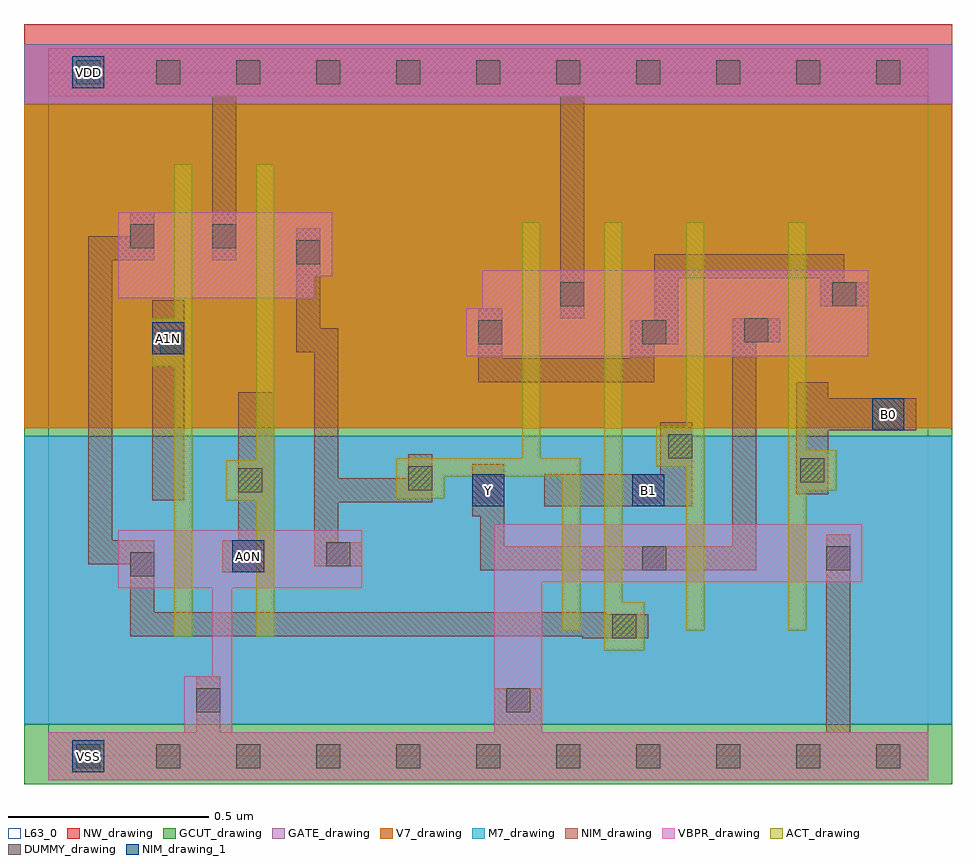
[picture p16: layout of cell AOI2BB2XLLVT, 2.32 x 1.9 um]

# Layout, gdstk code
import gdstk
lib = gdstk.Library(unit=1e-6, precision=5e-10)
def R(c, l, rs):  # rectangles x0, y0, x1, y1
    for r in rs: c.add(gdstk.rectangle(r[:2], r[2:], *l))
def A(c, l, x, y, w, h, nx, ny, dx, dy):  # array of equal rectangles
    R(c, l, [(x+i*dx, y+j*dy, x+i*dx+w, y+j*dy+h) for i in range(nx) for j in range(ny)])
def P(c, l, *ps):  # polygons
    for p in ps: c.add(gdstk.Polygon(p, *l))
VBPR_drawing = (1, 0)
NW_drawing = (2, 0)
ACT_drawing = (3, 0)
GATE_drawing = (4, 0)
GCUT_drawing = (5, 0)
DUMMY_drawing = (6, 0)
NIM_drawing = (7, 0)
NIM_drawing_1 = (7, 1)
M7_drawing = (26, 0)
V7_drawing = (27, 0)
L63_0 = (63, 0)

aoi2bb2xllvt = lib.new_cell('AOI2BB2XLLVT')
R(aoi2bb2xllvt, VBPR_drawing, [(0,-0.06,2.2,0.06), (0,1.65,2.2,1.77)])
P(aoi2bb2xllvt, VBPR_drawing, [(0.175,1.36),(0.71,1.36),(0.71,1.2),(0.665,1.2),(0.665,1.145),(0.175,1.145)],
  [(1.085,1.215),(2.05,1.215),(2.05,1),(1.045,1),(1.045,1.12),(1.085,1.12)],
  [(2.035,0.58),(1.115,0.58),(1.115,0.06),(1.235,0.06),(1.235,0.435),(2.035,0.435)],
  [(0.785,0.565),(0.175,0.565),(0.175,0.42),(0.41,0.42),(0.41,0.2),(0.34,0.2),(0.34,0.06),(0.46,0.06),(0.46,0.42),(0.785,0.42)])
R(aoi2bb2xllvt, NW_drawing, [(-0.06,0.82,2.26,1.83)])
P(aoi2bb2xllvt, ACT_drawing, [(0.315,1.48),(0.36,1.48),(0.36,0.3),(0.315,0.3),(0.315,0.975),(0.26,0.975),(0.26,1.095),(0.315,1.095)],
  [(0.52,1.48),(0.565,1.48),(0.565,0.3),(0.52,0.3),(0.52,0.64),(0.445,0.64),(0.445,0.74),(0.52,0.74)],
  [(1.185,1.335),(1.23,1.335),(1.23,0.745),(1.33,0.745),(1.33,0.315),(1.285,0.315),(1.285,0.7),(0.99,0.7),(0.99,0.645),(0.87,0.645),(0.87,0.745),(1.185,0.745)],
  [(1.39,1.335),(1.435,1.335),(1.435,0.385),(1.49,0.385),(1.49,0.265),(1.39,0.265)],
  [(1.595,1.335),(1.64,1.335),(1.64,0.315),(1.595,0.315),(1.595,0.725),(1.52,0.725),(1.52,0.825),(1.595,0.825)],
  [(1.85,1.335),(1.895,1.335),(1.895,0.765),(1.97,0.765),(1.97,0.665),(1.895,0.665),(1.895,0.315),(1.85,0.315)])
R(aoi2bb2xllvt, GATE_drawing, [(-0.06,0.08,2.26,0.8), (-0.06,1.63,2.26,1.78)])
R(aoi2bb2xllvt, GCUT_drawing, [(-0.06,-0.07,2.26,0.08), (-0.06,0.8,2.26,1.63)])
A(aoi2bb2xllvt, DUMMY_drawing, 0.07, -0.03, 0.06, 0.06, 11, 2, 0.2, 1.71)
R(aoi2bb2xllvt, DUMMY_drawing, [(0.37,0.11,0.43,0.17), (1.145,0.11,1.205,0.17), (1.41,0.295,1.47,0.355), (0.205,0.45,0.265,0.51), (1.485,0.465,1.545,0.525), (1.945,0.465,2.005,0.525), (0.695,0.475,0.755,0.535), (0.475,0.66,0.535,0.72), (0.9,0.665,0.96,0.725), (1.88,0.685,1.94,0.745), (1.55,0.745,1.61,0.805), (0.28,1.005,0.34,1.065), (1.075,1.03,1.135,1.09), (1.485,1.03,1.545,1.09), (1.74,1.035,1.8,1.095), (1.28,1.125,1.34,1.185), (1.96,1.125,2.02,1.185), (0.62,1.23,0.68,1.29), (0.205,1.27,0.265,1.33), (0.41,1.27,0.47,1.33)])
R(aoi2bb2xllvt, NIM_drawing, [(0.37,0.06,0.43,0.2), (1.115,0.06,1.235,0.17), (1.945,0.06,2.005,0.555), (0.26,0.64,0.34,1.14), (1.28,1.095,1.34,1.65), (0.41,1.24,0.47,1.65)])
P(aoi2bb2xllvt, NIM_drawing, [(0.205,1.36),(0.265,1.36),(0.265,1.24),(0.16,1.24),(0.16,0.54),(0.265,0.54),(0.265,0.36),(1.395,0.36),(1.395,0.355),(1.5,0.355),(1.5,0.295),(1.335,0.295),(1.335,0.3),(0.205,0.3),(0.205,0.48),(0.1,0.48),(0.1,1.3),(0.205,1.3)],
  [(0.62,1.32),(0.68,1.32),(0.68,1.07),(0.725,1.07),(0.725,0.695),(0.9,0.695),(0.9,0.755),(0.96,0.755),(0.96,0.635),(0.725,0.635),(0.725,0.535),(0.785,0.535),(0.785,0.475),(0.665,0.475),(0.665,1.01),(0.62,1.01)],
  [(0.475,0.91),(0.565,0.91),(0.565,0.46),(0.435,0.46),(0.435,0.54),(0.475,0.54)],
  [(1.515,1.255),(1.99,1.255),(1.99,1.185),(2.05,1.185),(2.05,1.125),(1.93,1.125),(1.93,1.195),(1.575,1.195),(1.575,1.03),(1.515,1.03),(1.515,0.935),(1.075,0.935),(1.075,1.12),(1.135,1.12),(1.135,0.995),(1.455,0.995),(1.455,1.09),(1.515,1.09)],
  [(1.71,1.095),(1.83,1.095),(1.83,1.035),(1.77,1.035),(1.77,0.465),(1.08,0.465),(1.08,0.6),(1.06,0.6),(1.06,0.73),(1.14,0.73),(1.14,0.525),(1.71,0.525)],
  [(1.53,0.835),(1.61,0.835),(1.61,0.625),(1.24,0.625),(1.24,0.705),(1.53,0.705)],
  [(1.87,0.935),(1.95,0.935),(1.95,0.895),(2.17,0.895),(2.17,0.815),(1.95,0.815),(1.95,0.655),(1.87,0.655)])
R(aoi2bb2xllvt, NIM_drawing_1, [(0.06,-0.04,0.14,0.04), (0.46,0.46,0.54,0.54), (1.06,0.625,1.14,0.705), (1.46,0.625,1.54,0.705), (2.06,0.815,2.14,0.895), (0.26,1.005,0.34,1.085), (0.06,1.67,0.14,1.75)])
R(aoi2bb2xllvt, M7_drawing, [(-0.06,0.08,2.26,0.8)])
R(aoi2bb2xllvt, V7_drawing, [(-0.06,0.82,2.26,1.63)])
R(aoi2bb2xllvt, L63_0, [(0,0,2.2,1.71)])
aoi2bb2xllvt.add(gdstk.FlexPath([(0,0),(2.2,0)], 0.12, ends="flush", simple_path=True, layer=7, datatype=0))  # NIM_drawing
aoi2bb2xllvt.add(gdstk.FlexPath([(0,1.71),(2.2,1.71)], 0.12, ends="flush", simple_path=True, layer=7, datatype=0))  # NIM_drawing
aoi2bb2xllvt.add(gdstk.Label('B0', (2.1,0.855), layer=7, texttype=1))
aoi2bb2xllvt.add(gdstk.Label('B1', (1.5,0.665), layer=7, texttype=1))
aoi2bb2xllvt.add(gdstk.Label('A0N', (0.5,0.5), layer=7, texttype=1))
aoi2bb2xllvt.add(gdstk.Label('A1N', (0.3,1.045), layer=7, texttype=1))
aoi2bb2xllvt.add(gdstk.Label('Y', (1.1,0.665), layer=7, texttype=1))
aoi2bb2xllvt.add(gdstk.Label('VDD', (0.1,1.71), layer=7, texttype=1))
aoi2bb2xllvt.add(gdstk.Label('VSS', (0.1,0), layer=7, texttype=1))
aoi2bb2xllvt.add(gdstk.Label('VSS', (0.1,0), layer=7, texttype=1))
aoi2bb2xllvt.add(gdstk.Label('VDD', (0.1,1.71), layer=7, texttype=1))
aoi2bb2xllvt.add(gdstk.Label('Y', (1.1,0.665), layer=7, texttype=1))
aoi2bb2xllvt.add(gdstk.Label('A1N', (0.3,1.045), layer=7, texttype=1))
aoi2bb2xllvt.add(gdstk.Label('A0N', (0.5,0.5), layer=7, texttype=1))
aoi2bb2xllvt.add(gdstk.Label('B1', (1.5,0.665), layer=7, texttype=1))
aoi2bb2xllvt.add(gdstk.Label('B0', (2.1,0.855), layer=7, texttype=1))
aoi2bb2xllvt.add(gdstk.Label('AOI2BB2XL', (0,0), layer=63, texttype=0))

lib.write_gds('AOI2BB2XLLVT.gds')
